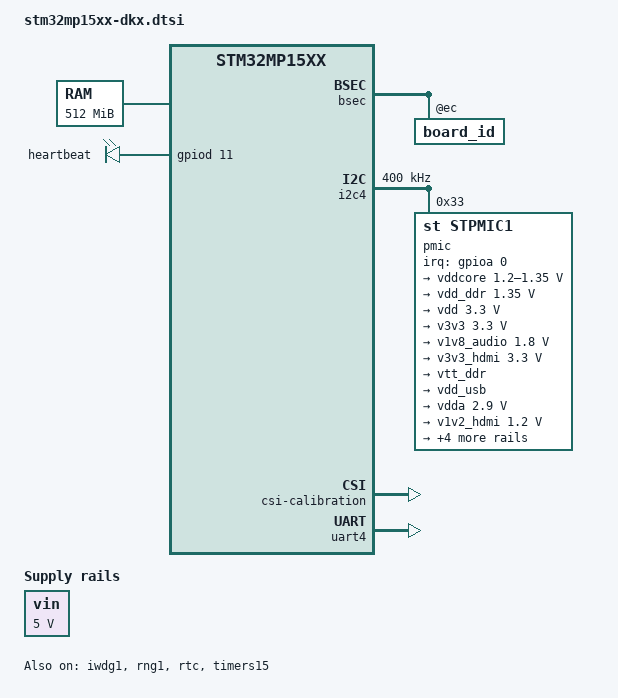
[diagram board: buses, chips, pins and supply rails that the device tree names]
// SPDX-License-Identifier: (GPL-2.0+ OR BSD-3-Clause)
/*
 * Copyright (C) STMicroelectronics 2019 - All Rights Reserved
 * Author: Alexandre Torgue <alexandre.torgue@st.com> for STMicroelectronics.
 */

#include <dt-bindings/clock/stm32mp1-clksrc.h>
#include <dt-bindings/gpio/stm32mp_gpio.h>
#include <dt-bindings/power/stm32mp1-power.h>
#include <dt-bindings/mfd/st,stpmic1.h>
#include <dt-bindings/soc/stm32mp-provisioning.h>
#include <dt-bindings/soc/stm32mp15-etzpc.h>
#include <dt-bindings/tamper/st,stm32-tamp.h>

/ {
	aliases {
		serial0 = &uart4;
		serial1 = &usart3;
		serial2 = &uart7;
	};

	memory@c0000000 {
		device_type = "memory";
		reg = <0xc0000000 0x20000000>;
	};

	reserved-memory {
		#address-cells = <1>;
		#size-cells = <1>;
		ranges;

		mcusram1: mcuram@10000000 {
			compatible = "shared-dma-pool";
			reg = <0x10000000 0x20000>;
			no-map;
		};

		mcusram2: mcuram@10020000 {
			compatible = "shared-dma-pool";
			reg = <0x10020000 0x20000>;
			no-map;
		};

		mcusram3: mcuram@10040000 {
			compatible = "shared-dma-pool";
			reg = <0x10040000 0x10000>;
			no-map;
		};

		retram: retram@38000000 {
			compatible = "shared-dma-pool";
			reg = <0x38000000 0x10000>;
			no-map;
		};

		gpu_reserved: gpu@d4000000 {
			reg = <0xd4000000 0x4000000>;
			no-map;
		};
	};

	led {
		compatible = "gpio-leds";
		led-blue {
			label = "heartbeat";
			gpios = <&gpiod 11 GPIO_ACTIVE_HIGH>;
			linux,default-trigger = "heartbeat";
			default-state = "off";
		};
	};

	shadow-prov {
		compatible = "st,provisioning";
		hw2_prov {
			nvmem-cells = <&hw2_otp>;
			st,shadow-value = <0x000001E0>;
			st,shadow-lock = <STICKY_LOCK_SR>;
		};
	};

	sound {
		compatible = "audio-graph-card";
		label = "STM32MP1-DK";
		routing =
			"Playback" , "MCLK",
			"Capture" , "MCLK",
			"MICL" , "Mic Bias";
		dais = <&sai2a_port &sai2b_port &i2s2_port>;
		status = "disabled";
	};

	vin: vin {
		compatible = "regulator-fixed";
		regulator-name = "vin";
		regulator-min-microvolt = <5000000>;
		regulator-max-microvolt = <5000000>;
		regulator-always-on;
	};
};

&adc {
	pinctrl-names = "default";
	pinctrl-0 = <&adc12_ain_pins_a>, <&adc12_usb_cc_pins_a>;
	vdd-supply = <&vdd>;
	vdda-supply = <&vdd>;
	vref-supply = <&vrefbuf>;
	status = "disabled";
	adc1: adc@0 {
		/*
		 * Type-C USB_PWR_CC1 & USB_PWR_CC2 on in18 & in19.
		 * Use at least 5 * RC time, e.g. 5 * (Rp + Rd) * C:
		 * 5 * (56 + 47kOhms) * 5pF => 2.5us.
		 * Use arbitrary margin here (e.g. 5us).
		 */
		st,min-sample-time-nsecs = <5000>;
		/* AIN connector, USB Type-C CC1 & CC2 */
		st,adc-channels = <0 1 6 13 18 19>;
		status = "disabled";
	};
	adc2: adc@100 {
		/* AIN connector, USB Type-C CC1 & CC2 */
		st,adc-channels = <0 1 2 6 18 19>;
		st,min-sample-time-nsecs = <5000>;
		status = "disabled";
	};
};

&bsec {
	board_id: board_id@ec {
		reg = <0xec 0x4>;
		st,non-secure-otp;
	};
};

&cec {
	pinctrl-names = "default", "sleep";
	pinctrl-0 = <&cec_pins_b>;
	pinctrl-1 = <&cec_sleep_pins_b>;
	status = "disabled";
};

&crc1 {
	status = "disabled";
};

&dts {
	status = "disabled";
};

&ethernet0 {
	status = "disabled";
	pinctrl-0 = <&ethernet0_rgmii_pins_a>;
	pinctrl-1 = <&ethernet0_rgmii_sleep_pins_a>;
	pinctrl-names = "default", "sleep";
	phy-mode = "rgmii-id";
	max-speed = <1000>;
	phy-handle = <&phy0>;

	mdio0 {
		#address-cells = <1>;
		#size-cells = <0>;
		compatible = "snps,dwmac-mdio";
		phy0: ethernet-phy@0 {
			reg = <0>;
		};
	};
};

&gpu {
	contiguous-area = <&gpu_reserved>;
};

&hash1 {
	status = "disabled";
};

&i2c1 {
	pinctrl-names = "default", "sleep";
	pinctrl-0 = <&i2c1_pins_a>;
	pinctrl-1 = <&i2c1_sleep_pins_a>;
	i2c-scl-rising-time-ns = <100>;
	i2c-scl-falling-time-ns = <7>;
	status = "disabled";
	/delete-property/dmas;
	/delete-property/dma-names;

	hdmi-transmitter@39 {
		compatible = "sil,sii9022";
		reg = <0x39>;
		iovcc-supply = <&v3v3_hdmi>;
		cvcc12-supply = <&v1v2_hdmi>;
		reset-gpios = <&gpioa 10 GPIO_ACTIVE_LOW>;
		interrupts = <1 IRQ_TYPE_EDGE_FALLING>;
		interrupt-parent = <&gpiog>;
		#sound-dai-cells = <0>;
		status = "disabled";

		ports {
			#address-cells = <1>;
			#size-cells = <0>;

			port@0 {
				reg = <0>;
				sii9022_in: endpoint {
					remote-endpoint = <&ltdc_ep0_out>;
				};
			};

			port@3 {
				reg = <3>;
				sii9022_tx_endpoint: endpoint {
					remote-endpoint = <&i2s2_endpoint>;
				};
			};
		};
	};

	cs42l51: cs42l51@4a {
		compatible = "cirrus,cs42l51";
		reg = <0x4a>;
		#sound-dai-cells = <0>;
		VL-supply = <&v3v3>;
		VD-supply = <&v1v8_audio>;
		VA-supply = <&v1v8_audio>;
		VAHP-supply = <&v1v8_audio>;
		reset-gpios = <&gpiog 9 GPIO_ACTIVE_LOW>;
		clocks = <&sai2a>;
		clock-names = "MCLK";
		status = "disabled";

		cs42l51_port: port {
			#address-cells = <1>;
			#size-cells = <0>;

			cs42l51_tx_endpoint: endpoint@0 {
				reg = <0>;
				remote-endpoint = <&sai2a_endpoint>;
				frame-master = <&cs42l51_tx_endpoint>;
				bitclock-master = <&cs42l51_tx_endpoint>;
			};

			cs42l51_rx_endpoint: endpoint@1 {
				reg = <1>;
				remote-endpoint = <&sai2b_endpoint>;
				frame-master = <&cs42l51_rx_endpoint>;
				bitclock-master = <&cs42l51_rx_endpoint>;
			};
		};
	};
};

&clk_hse {
	st,digbypass;
};

&cpu0{
	cpu-supply = <&vddcore>;
};

&cpu1{
	cpu-supply = <&vddcore>;
};

&i2c4 {
	compatible = "st,stm32mp15-i2c-non-secure";
	pinctrl-names = "default", "sleep";
	pinctrl-0 = <&i2c4_pins_a>;
	pinctrl-1 = <&i2c4_sleep_pins_a>;
	i2c-scl-rising-time-ns = <185>;
	i2c-scl-falling-time-ns = <20>;
	clock-frequency = <400000>;
	status = "okay";
	/* spare dmas for other usage */
	/delete-property/dmas;
	/delete-property/dma-names;

	stusb1600@28 {
		compatible = "st,stusb1600";
		reg = <0x28>;
		interrupts = <11 IRQ_TYPE_LEVEL_LOW>;
		interrupt-parent = <&gpioi>;
		pinctrl-names = "default";
		pinctrl-0 = <&stusb1600_pins_a>;
		status = "disabled";
		vdd-supply = <&vin>;

		connector {
			compatible = "usb-c-connector";
			label = "USB-C";
			power-role = "dual";
			typec-power-opmode = "default";

			port {
				con_usbotg_hs_ep: endpoint {
					remote-endpoint = <&usbotg_hs_ep>;
				};
			};
		};
	};

	pmic: stpmic@33 {
		compatible = "st,stpmic1";
		reg = <0x33>;
		interrupts-extended = <&gpioa 0 IRQ_TYPE_EDGE_FALLING>;
		interrupt-controller;
		#interrupt-cells = <2>;
		status = "okay";

		regulators {
			compatible = "st,stpmic1-regulators";
			buck1-supply = <&vin>;
			buck2-supply = <&vin>;
			buck3-supply = <&vin>;
			buck4-supply = <&vin>;
			ldo1-supply = <&v3v3>;
			ldo2-supply = <&vin>;
			ldo3-supply = <&vdd_ddr>;
			ldo4-supply = <&vin>;
			ldo5-supply = <&vin>;
			ldo6-supply = <&v3v3>;
			vref_ddr-supply = <&vin>;
			boost-supply = <&vin>;
			pwr_sw1-supply = <&bst_out>;
			pwr_sw2-supply = <&bst_out>;

			vddcore: buck1 {
				regulator-name = "vddcore";
				regulator-min-microvolt = <1200000>;
				regulator-max-microvolt = <1350000>;
				regulator-always-on;
				regulator-initial-mode = <0>;
				regulator-over-current-protection;
			};

			vdd_ddr: buck2 {
				regulator-name = "vdd_ddr";
				regulator-min-microvolt = <1350000>;
				regulator-max-microvolt = <1350000>;
				regulator-always-on;
				regulator-initial-mode = <0>;
				regulator-over-current-protection;
			};

			vdd: buck3 {
				regulator-name = "vdd";
				regulator-min-microvolt = <3300000>;
				regulator-max-microvolt = <3300000>;
				regulator-always-on;
				st,mask-reset;
				regulator-initial-mode = <0>;
				regulator-over-current-protection;
			};

			v3v3: buck4 {
				regulator-name = "v3v3";
				regulator-min-microvolt = <3300000>;
				regulator-max-microvolt = <3300000>;
				regulator-always-on;
				regulator-over-current-protection;
				regulator-initial-mode = <0>;
			};

			v1v8_audio: ldo1 {
				regulator-name = "v1v8_audio";
				regulator-min-microvolt = <1800000>;
				regulator-max-microvolt = <1800000>;
				regulator-always-on;
				interrupts = <IT_CURLIM_LDO1 0>;
			};

			v3v3_hdmi: ldo2 {
				regulator-name = "v3v3_hdmi";
				regulator-min-microvolt = <3300000>;
				regulator-max-microvolt = <3300000>;
				regulator-always-on;
				interrupts = <IT_CURLIM_LDO2 0>;
			};

			vtt_ddr: ldo3 {
				regulator-name = "vtt_ddr";
				regulator-always-on;
				regulator-over-current-protection;
				st,regulator-sink-source;
			};

			vdd_usb: ldo4 {
				regulator-name = "vdd_usb";
				interrupts = <IT_CURLIM_LDO4 0>;
			};

			vdda: ldo5 {
				regulator-name = "vdda";
				regulator-min-microvolt = <2900000>;
				regulator-max-microvolt = <2900000>;
				interrupts = <IT_CURLIM_LDO5 0>;
				regulator-boot-on;
			};

			v1v2_hdmi: ldo6 {
				regulator-name = "v1v2_hdmi";
				regulator-min-microvolt = <1200000>;
				regulator-max-microvolt = <1200000>;
				regulator-always-on;
				interrupts = <IT_CURLIM_LDO6 0>;
			};

			vref_ddr: vref_ddr {
				regulator-name = "vref_ddr";
				regulator-always-on;
			};

			bst_out: boost {
				regulator-name = "bst_out";
				interrupts = <IT_OCP_BOOST 0>;
			};

			vbus_otg: pwr_sw1 {
				regulator-name = "vbus_otg";
				interrupts = <IT_OCP_OTG 0>;
			};

			vbus_sw: pwr_sw2 {
				regulator-name = "vbus_sw";
				interrupts = <IT_OCP_SWOUT 0>;
				regulator-active-discharge = <1>;
			};
		};

		onkey {
			compatible = "st,stpmic1-onkey";
			interrupts = <IT_PONKEY_F 0>, <IT_PONKEY_R 0>;
			interrupt-names = "onkey-falling", "onkey-rising";
			power-off-time-sec = <10>;
			status = "disabled";
		};

		watchdog {
			compatible = "st,stpmic1-wdt";
			status = "disabled";
		};
	};
};

&i2c5 {
	pinctrl-names = "default", "sleep";
	pinctrl-0 = <&i2c5_pins_a>;
	pinctrl-1 = <&i2c5_sleep_pins_a>;
	i2c-scl-rising-time-ns = <185>;
	i2c-scl-falling-time-ns = <20>;
	clock-frequency = <400000>;
	/* spare dmas for other usage */
	/delete-property/dmas;
	/delete-property/dma-names;
	status = "disabled";
};

&i2s2 {
	clocks = <&rcc SPI2>, <&rcc SPI2_K>, <&rcc PLL3_Q>, <&rcc PLL3_R>;
	clock-names = "pclk", "i2sclk", "x8k", "x11k";
	pinctrl-names = "default", "sleep";
	pinctrl-0 = <&i2s2_pins_a>;
	pinctrl-1 = <&i2s2_sleep_pins_a>;
	status = "disabled";

	i2s2_port: port {
		i2s2_endpoint: endpoint {
			remote-endpoint = <&sii9022_tx_endpoint>;
			format = "i2s";
			mclk-fs = <256>;
		};
	};
};

&ipcc {
	status = "disabled";
};

&iwdg1 {
	timeout-sec = <32>;
	status = "okay";
};

&ltdc {
	pinctrl-names = "default", "sleep";
	pinctrl-0 = <&ltdc_pins_a>;
	pinctrl-1 = <&ltdc_sleep_pins_a>;
	status = "disabled";

	port {
		ltdc_ep0_out: endpoint@0 {
			reg = <0>;
			remote-endpoint = <&sii9022_in>;
		};
	};
};

&m4_rproc {
	memory-region = <&retram>, <&mcusram1>, <&mcusram2>, <&mcusram3>;
	mboxes = <&ipcc 0>, <&ipcc 1>, <&ipcc 2>, <&ipcc 3>;
	mbox-names = "vq0", "vq1", "shutdown", "detach";
	interrupt-parent = <&exti>;
	interrupts = <68 1>;
	status = "disabled";
};

&osc_calibration {
	csi-calibration {
		status = "okay";
	};

	hsi-calibration {
		status = "okay";
	};
};

&pwr_regulators {
	system_suspend_supported_soc_modes = <
		STM32_PM_CSLEEP_RUN
		STM32_PM_CSTOP_ALLOW_LP_STOP
		STM32_PM_CSTOP_ALLOW_STANDBY_DDR_SR
	>;
	system_off_soc_mode = <STM32_PM_CSTOP_ALLOW_STANDBY_DDR_OFF>;
	vdd-supply = <&vdd>;
	vdd_3v3_usbfs-supply = <&vdd_usb>;
};

&rcc {
	st,clksrc = <
		CLK_MPU_PLL1P
		CLK_AXI_PLL2P
		CLK_MCU_PLL3P
		CLK_RTC_LSE
		CLK_MCO1_DISABLED
		CLK_MCO2_DISABLED
		CLK_CKPER_HSE
		CLK_FMC_ACLK
		CLK_QSPI_ACLK
		CLK_ETH_PLL4P
		CLK_SDMMC12_PLL4P
		CLK_DSI_DSIPLL
		CLK_STGEN_HSE
		CLK_USBPHY_HSE
		CLK_SPI2S1_PLL3Q
		CLK_SPI2S23_PLL3Q
		CLK_SPI45_HSI
		CLK_SPI6_HSI
		CLK_I2C46_HSI
		CLK_SDMMC3_PLL4P
		CLK_USBO_USBPHY
		CLK_ADC_CKPER
		CLK_CEC_LSE
		CLK_I2C12_HSI
		CLK_I2C35_HSI
		CLK_UART1_HSI
		CLK_UART24_HSI
		CLK_UART35_HSI
		CLK_UART6_HSI
		CLK_UART78_HSI
		CLK_SPDIF_PLL4P
		CLK_FDCAN_PLL4R
		CLK_SAI1_PLL3Q
		CLK_SAI2_PLL3Q
		CLK_SAI3_PLL3Q
		CLK_SAI4_PLL3Q
		CLK_RNG1_CSI
		CLK_RNG2_LSI
		CLK_LPTIM1_PCLK1
		CLK_LPTIM23_PCLK3
		CLK_LPTIM45_LSE
	>;

	st,clkdiv = <
		DIV(DIV_MPU, 1)
		DIV(DIV_AXI, 0)
		DIV(DIV_MCU, 0)
		DIV(DIV_APB1, 1)
		DIV(DIV_APB2, 1)
		DIV(DIV_APB3, 1)
		DIV(DIV_APB4, 1)
		DIV(DIV_APB5, 2)
		DIV(DIV_RTC, 23)
		DIV(DIV_MCO1, 0)
		DIV(DIV_MCO2, 0)
	>;

	st,pll_vco {
		pll2_vco_1066Mhz: pll2-vco-1066Mhz {
			src = <CLK_PLL12_HSE>;
			divmn = <2 65>;
			frac = <0x1400>;
		};

		pll3_vco_417Mhz: pll3-vco-417Mhz {
			src = <CLK_PLL3_HSE>;
			divmn = <1 33>;
			frac = <0x1a04>;
		};

		pll4_vco_594Mhz: pll4-vco-594Mhz {
			src = <CLK_PLL4_HSE>;
			divmn = <3 98>;
		};
	};

	/* VCO = 1066.0 MHz => P = 266 (AXI), Q = 533 (GPU), R = 533 (DDR) */
	pll2: st,pll@1 {
		compatible = "st,stm32mp1-pll";
		reg = <1>;

		st,pll = <&pll2_cfg1>;

		pll2_cfg1: pll2_cfg1 {
			st,pll_vco = <&pll2_vco_1066Mhz>;
			st,pll_div_pqr = <1 0 0>;
		};
	};

	/* VCO = 417.8 MHz => P = 209, Q = 24, R = 11 */
	pll3: st,pll@2 {
		compatible = "st,stm32mp1-pll";
		reg = <2>;

		st,pll = <&pll3_cfg1>;

		pll3_cfg1: pll3_cfg1 {
			st,pll_vco = <&pll3_vco_417Mhz>;
			st,pll_div_pqr = <1 16 36>;
		};
	};

	/* VCO = 594.0 MHz => P = 99, Q = 74, R = 74 */
	pll4: st,pll@3 {
		compatible = "st,stm32mp1-pll";
		reg = <3>;

		st,pll = <&pll4_cfg1>;

		pll4_cfg1: pll4_cfg1 {
			st,pll_vco = <&pll4_vco_594Mhz>;
			st,pll_div_pqr = <5 7 7>;
		};
	};
};

&rng1 {
	status = "okay";
};

&rtc {
	status = "okay";
};

&sai2 {
	clocks = <&rcc SAI2>, <&rcc PLL3_Q>, <&rcc PLL3_R>;
	clock-names = "pclk", "x8k", "x11k";
	pinctrl-names = "default", "sleep";
	pinctrl-0 = <&sai2a_pins_a>, <&sai2b_pins_b>;
	pinctrl-1 = <&sai2a_sleep_pins_a>, <&sai2b_sleep_pins_b>;
	status = "disabled";

	sai2a: audio-controller@4400b004 {
		#clock-cells = <0>;
		dma-names = "tx";
		clocks = <&rcc SAI2_K>;
		clock-names = "sai_ck";
		status = "disabled";

		sai2a_port: port {
			sai2a_endpoint: endpoint {
				remote-endpoint = <&cs42l51_tx_endpoint>;
				format = "i2s";
				mclk-fs = <256>;
				dai-tdm-slot-num = <2>;
				dai-tdm-slot-width = <32>;
			};
		};
	};

	sai2b: audio-controller@4400b024 {
		dma-names = "rx";
		st,sync = <&sai2a 2>;
		clocks = <&rcc SAI2_K>, <&sai2a>;
		clock-names = "sai_ck", "MCLK";
		status = "disabled";

		sai2b_port: port {
			sai2b_endpoint: endpoint {
				remote-endpoint = <&cs42l51_rx_endpoint>;
				format = "i2s";
				mclk-fs = <256>;
				dai-tdm-slot-num = <2>;
				dai-tdm-slot-width = <32>;
			};
		};
	};
};

&sdmmc1 {
	pinctrl-names = "default", "opendrain", "sleep";
	pinctrl-0 = <&sdmmc1_b4_pins_a>;
	pinctrl-1 = <&sdmmc1_b4_od_pins_a>;
	pinctrl-2 = <&sdmmc1_b4_sleep_pins_a>;
	cd-gpios = <&gpiob 7 (GPIO_ACTIVE_LOW | GPIO_PULL_UP)>;
	disable-wp;
	st,neg-edge;
	bus-width = <4>;
	vmmc-supply = <&v3v3>;
	status = "disabled";
};

&sdmmc3 {
	pinctrl-names = "default", "opendrain", "sleep";
	pinctrl-0 = <&sdmmc3_b4_pins_a>;
	pinctrl-1 = <&sdmmc3_b4_od_pins_a>;
	pinctrl-2 = <&sdmmc3_b4_sleep_pins_a>;
	broken-cd;
	st,neg-edge;
	bus-width = <4>;
	vmmc-supply = <&v3v3>;
	status = "disabled";
};

&tamp {
	st,tamp-passive-nb-sample = <4>;
	st,tamp-passive-sample-clk-div = <16384>;
};

&timers1 {
	/* spare dmas for other usage */
	/delete-property/dmas;
	/delete-property/dma-names;
	status = "disabled";
	pwm {
		pinctrl-0 = <&pwm1_pins_a>;
		pinctrl-1 = <&pwm1_sleep_pins_a>;
		pinctrl-names = "default", "sleep";
		status = "disabled";
	};
	timer@0 {
		status = "disabled";
	};
};

&timers3 {
	/delete-property/dmas;
	/delete-property/dma-names;
	status = "disabled";
	pwm {
		pinctrl-0 = <&pwm3_pins_a>;
		pinctrl-1 = <&pwm3_sleep_pins_a>;
		pinctrl-names = "default", "sleep";
		status = "disabled";
	};
	timer@2 {
		status = "disabled";
	};
};

&timers4 {
	/delete-property/dmas;
	/delete-property/dma-names;
	status = "disabled";
	pwm {
		pinctrl-0 = <&pwm4_pins_a &pwm4_pins_b>;
		pinctrl-1 = <&pwm4_sleep_pins_a &pwm4_sleep_pins_b>;
		pinctrl-names = "default", "sleep";
		status = "disabled";
	};
	timer@3 {
		status = "disabled";
	};
};

&timers5 {
	/delete-property/dmas;
	/delete-property/dma-names;
	status = "disabled";
	pwm {
		pinctrl-0 = <&pwm5_pins_a>;
		pinctrl-1 = <&pwm5_sleep_pins_a>;
		pinctrl-names = "default", "sleep";
		status = "disabled";
	};
	timer@4 {
		status = "disabled";
	};
};

&timers6 {
	/delete-property/dmas;
	/delete-property/dma-names;
	status = "disabled";
	timer@5 {
		status = "disabled";
	};
};

&timers12 {
	/delete-property/dmas;
	/delete-property/dma-names;
	status = "disabled";
	pwm {
		pinctrl-0 = <&pwm12_pins_a>;
		pinctrl-1 = <&pwm12_sleep_pins_a>;
		pinctrl-names = "default", "sleep";
		status = "disabled";
	};
	timer@11 {
		status = "disabled";
	};
};

&timers15 {
	status = "okay";

	counter {
		status = "okay";
	};
};

&uart4 {
	pinctrl-names = "default", "sleep", "idle";
	pinctrl-0 = <&uart4_pins_a>;
	pinctrl-1 = <&uart4_sleep_pins_a>;
	pinctrl-2 = <&uart4_idle_pins_a>;
	/delete-property/dmas;
	/delete-property/dma-names;
	status = "okay";
};

&uart7 {
	pinctrl-names = "default", "sleep", "idle";
	pinctrl-0 = <&uart7_pins_c>;
	pinctrl-1 = <&uart7_sleep_pins_c>;
	pinctrl-2 = <&uart7_idle_pins_c>;
	/delete-property/dmas;
	/delete-property/dma-names;
	status = "disabled";
};

&usart3 {
	pinctrl-names = "default", "sleep", "idle";
	pinctrl-0 = <&usart3_pins_c>;
	pinctrl-1 = <&usart3_sleep_pins_c>;
	pinctrl-2 = <&usart3_idle_pins_c>;
	uart-has-rtscts;
	status = "disabled";
};

&usbh_ehci {
	phys = <&usbphyc_port0>;
	status = "disabled";
};

&usbotg_hs {
	phys = <&usbphyc_port1 0>;
	phy-names = "usb2-phy";
	usb-role-switch;
	status = "disabled";

	port {
		usbotg_hs_ep: endpoint {
			remote-endpoint = <&con_usbotg_hs_ep>;
		};
	};
};

&usbphyc {
	status = "disabled";
};

&usbphyc_port0 {
	phy-supply = <&vdd_usb>;
	st,tune-hs-dc-level = <2>;
	st,enable-fs-rftime-tuning;
	st,enable-hs-rftime-reduction;
	st,trim-hs-current = <15>;
	st,trim-hs-impedance = <1>;
	st,tune-squelch-level = <3>;
	st,tune-hs-rx-offset = <2>;
	st,no-lsfs-sc;
};

&usbphyc_port1 {
	phy-supply = <&vdd_usb>;
	st,tune-hs-dc-level = <2>;
	st,enable-fs-rftime-tuning;
	st,enable-hs-rftime-reduction;
	st,trim-hs-current = <15>;
	st,trim-hs-impedance = <1>;
	st,tune-squelch-level = <3>;
	st,tune-hs-rx-offset = <2>;
	st,no-lsfs-sc;
};

&usart3 {
	pinctrl-names = "default";
	pinctrl-0 = <&usart3_pins_c>;
	uart-has-rtscts;
	status = "disabled";
};

&vrefbuf {
	regulator-min-microvolt = <2500000>;
	regulator-max-microvolt = <2500000>;
	vdda-supply = <&vdd>;
	status = "disabled";
};

/* Low-power states of regulators */
&v1v2_hdmi {
	standby-ddr-sr {
		regulator-off-in-suspend;
	};
	standby-ddr-off {
		regulator-off-in-suspend;
	};
};

&v1v8_audio {
	standby-ddr-sr {
		regulator-off-in-suspend;
	};
	standby-ddr-off {
		regulator-off-in-suspend;
	};
};

&v3v3 {
	lp-stop {
		regulator-suspend-microvolt = <3300000>;
		regulator-on-in-suspend;
	};
	standby-ddr-sr {
		regulator-off-in-suspend;
	};
	standby-ddr-off {
		regulator-off-in-suspend;
	};
};

&v3v3_hdmi {
	standby-ddr-sr {
		regulator-off-in-suspend;
	};
	standby-ddr-off {
		regulator-off-in-suspend;
	};
};

&vdd {
	lp-stop {
		regulator-suspend-microvolt = <3300000>;
		regulator-on-in-suspend;
	};
	standby-ddr-sr {
		regulator-suspend-microvolt = <3300000>;
		regulator-on-in-suspend;
	};
	standby-ddr-off {
		regulator-suspend-microvolt = <3300000>;
		regulator-on-in-suspend;
	};
};

&vdda {
	standby-ddr-sr {
		regulator-off-in-suspend;
	};
	standby-ddr-off {
		regulator-off-in-suspend;
	};
};

&vddcore {
	lp-stop {
		regulator-on-in-suspend;
		regulator-suspend-microvolt = <1200000>;
	};
	standby-ddr-sr {
		regulator-off-in-suspend;
	};
	standby-ddr-off {
		regulator-off-in-suspend;
	};
};

&vdd_ddr {
	lp-stop {
		regulator-suspend-microvolt = <1350000>;
		regulator-on-in-suspend;
	};
	standby-ddr-sr {
		regulator-suspend-microvolt = <1350000>;
		regulator-on-in-suspend;
	};
	standby-ddr-off {
		regulator-off-in-suspend;
	};
};

&vdd_usb {
	standby-ddr-sr {
		regulator-off-in-suspend;
	};
	standby-ddr-off {
		regulator-off-in-suspend;
	};
};

&vref_ddr {
	lp-stop {
		regulator-on-in-suspend;
	};
	standby-ddr-sr {
		regulator-on-in-suspend;
	};
	standby-ddr-off {
		regulator-off-in-suspend;
	};
};

&vtt_ddr {
	lp-stop {
		regulator-off-in-suspend;
	};
	standby-ddr-sr {
		regulator-off-in-suspend;
	};
	standby-ddr-off {
		regulator-off-in-suspend;
	};
};
